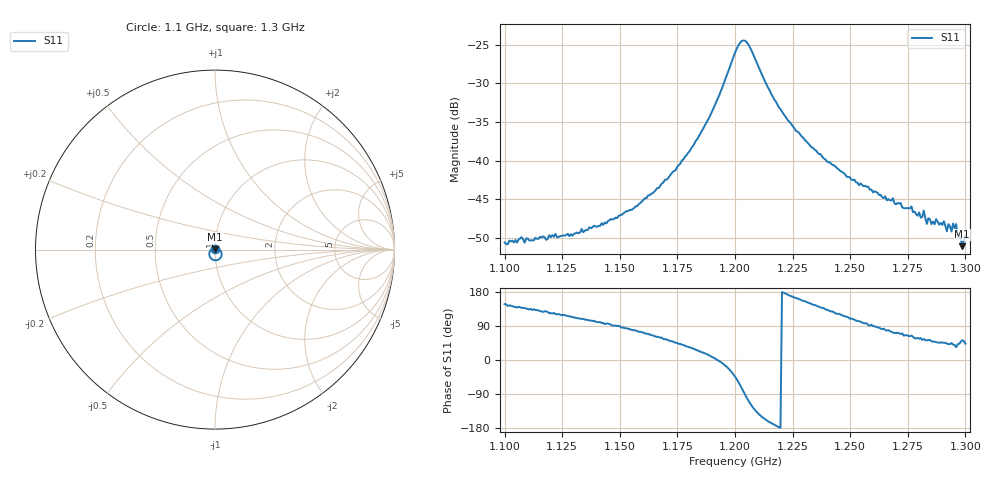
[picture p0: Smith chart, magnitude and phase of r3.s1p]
! ListType=Lin
# MHz S DB R 50
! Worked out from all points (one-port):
!   300 points, 1.1 GHz to 1.3 GHz, reference 50 ohm
!   lowest |S11| = -51.1 dB at 1.299 GHz (marker M1), VSWR 1.01, Z = 50.2 + j0.221 ohm
!   |S11| at or under -10 dB: start of sweep to end of sweep
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1100  -50.60 147.4
1125.418  -49.69 118.9
1150.167  -47.06 88.6
1164.214  -44.24 65.1
1175.585  -40.58 42.6
1188.963  -34.35 11.8
1200.334  -25.81 -46.6
1203.01  -24.49 -75.4
1205.017  -24.65 -98.7
1215.719  -31.37 -166.8
1225.084  -35.53 -193.3
1250.502  -42.45 -250.5
1275.251  -46.17 -296.5
1280.602  -47.39 -302.0
1281.94  -46.47 -304.5
1283.278  -48.19 -308.2
1283.946  -47.45 -307.3
1285.284  -48.22 -310.5
1290.635  -47.85 -314.6
1291.973  -49.15 -316.7
1292.642  -48.23 -318.4
1293.98  -49.18 -315.3
1294.649  -48.15 -319.3
1295.318  -48.73 -320.7
1295.987  -48.22 -326.1
1296.656  -49.71 -318.8
1298.662  -51.08 -307.8
1300  -49.64 -316.9
